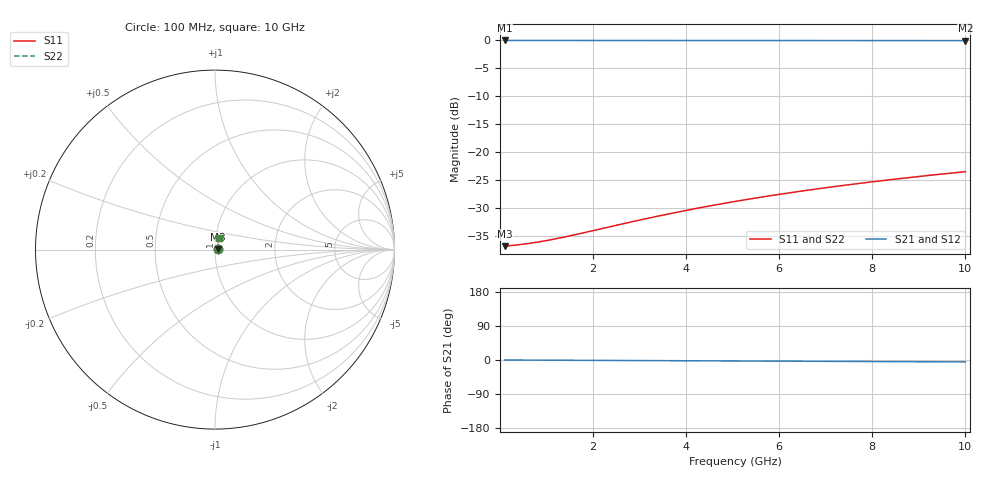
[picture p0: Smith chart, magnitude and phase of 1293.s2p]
# Hz S RI R 50.00
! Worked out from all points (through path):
!   100 points, 100 MHz to 10 GHz, reference 50 ohm
!   highest |S21| = -0.13 dB at 100 MHz (marker M1); lowest = -0.2 dB at 10 GHz (marker M2)
!   lowest |S11| = -36.7 dB at 100 MHz (marker M3), VSWR 1.03, Z = 51.5 + j0.066 ohm
!   |S11| at or under -10 dB: start of sweep to end of sweep
!   |S22| runs from -36.7 to -23.5 dB; largest |S21 - S12| = 0
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1e8  0.0146 0.000641  0.9854 -0.000872  0.9854 -0.000872  0.0146 0.000641
3e8  0.0147 0.00192  0.9853 -0.00261  0.9853 -0.00261  0.0147 0.00192
5e8  0.0148 0.0032  0.9852 -0.00436  0.9852 -0.00436  0.0148 0.0032
7e8  0.0149 0.00448  0.9851 -0.0061  0.9851 -0.0061  0.0149 0.00448
9e8  0.015 0.00576  0.985 -0.00784  0.985 -0.00784  0.015 0.00576
1.1e9  0.0151 0.00704  0.9849 -0.00958  0.9849 -0.00958  0.0151 0.00704
1.3e9  0.0152 0.00832  0.9848 -0.0113  0.9848 -0.0113  0.0152 0.00832
1.8e9  0.0154 0.0115  0.9846 -0.0157  0.9846 -0.0157  0.0154 0.0115
2.8e9  0.0158 0.0179  0.9842 -0.0244  0.9842 -0.0244  0.0158 0.0179
3.4e9  0.016 0.0217  0.9839 -0.0296  0.9839 -0.0296  0.016 0.0217
3.8e9  0.0162 0.0243  0.9837 -0.0331  0.9837 -0.0331  0.0162 0.0243
4.2e9  0.0165 0.0268  0.9835 -0.0365  0.9835 -0.0365  0.0165 0.0268
4.6e9  0.0167 0.0294  0.9832 -0.04  0.9832 -0.04  0.0167 0.0294
5.1e9  0.017 0.0326  0.9829 -0.0443  0.9829 -0.0443  0.017 0.0326
5.5e9  0.0173 0.0351  0.9826 -0.0478  0.9826 -0.0478  0.0173 0.0351
5.9e9  0.0176 0.0376  0.9823 -0.0513  0.9823 -0.0513  0.0176 0.0376
6.3e9  0.0179 0.0402  0.982 -0.0547  0.982 -0.0547  0.0179 0.0402
6.7e9  0.0182 0.0427  0.9817 -0.0582  0.9817 -0.0582  0.0182 0.0427
7.5e9  0.0189 0.0478  0.981 -0.0651  0.981 -0.0651  0.0189 0.0478
8.4e9  0.0197 0.0535  0.9801 -0.0729  0.9801 -0.0729  0.0197 0.0535
9.2e9  0.0206 0.0585  0.9792 -0.0798  0.9792 -0.0798  0.0206 0.0585
1e10  0.0215 0.0635  0.9782 -0.0867  0.9782 -0.0867  0.0215 0.0635
